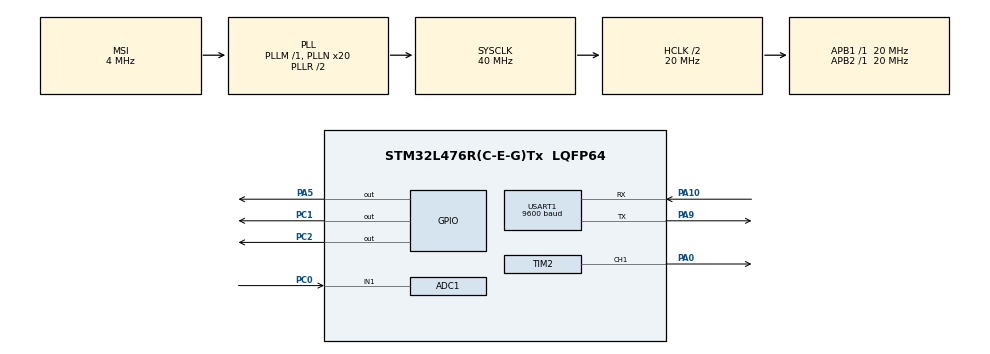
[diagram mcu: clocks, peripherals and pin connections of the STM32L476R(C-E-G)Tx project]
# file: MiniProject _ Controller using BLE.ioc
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ADC1.Channel-0\#ChannelRegularConversion=ADC_CHANNEL_1
ADC1.NbrOfConversionFlag=1
ADC1.OffsetNumber-0\#ChannelRegularConversion=ADC_OFFSET_NONE
ADC1.Rank-0\#ChannelRegularConversion=1
ADC1.SamplingTime-0\#ChannelRegularConversion=ADC_SAMPLETIME_2CYCLES_5
ADC1.master=1
Mcu.Family=STM32L4
Mcu.Name=STM32L476R(C-E-G)Tx
Mcu.Package=LQFP64
NVIC.PriorityGroup=NVIC_PRIORITYGROUP_4
NVIC.USART1_IRQn=true\:0\:0\:false\:false\:true\:true\:true\:true
PA0.Signal=S_TIM2_CH1
PA10.Mode=Asynchronous
PA10.Signal=USART1_RX
PA5.Signal=GPIO_Output
PA9.Mode=Asynchronous
PA9.Signal=USART1_TX
PC0.Signal=ADCx_IN1
PC1.Signal=GPIO_Output
PC2.Signal=GPIO_Output
ProjectManager.HeapSize=0x200
ProjectManager.StackSize=0x400
ProjectManager.TargetToolchain=STM32CubeIDE
RCC.ADCFreq_Value=32000000
RCC.AHBCLKDivider=RCC_SYSCLK_DIV2
RCC.AHBFreq_Value=20000000
RCC.APB1Freq_Value=20000000
RCC.APB1TimFreq_Value=20000000
RCC.APB2Freq_Value=20000000
RCC.APB2TimFreq_Value=20000000
RCC.CortexFreq_Value=20000000
RCC.HCLKFreq_Value=20000000
RCC.HSE_VALUE=8000000
RCC.HSI_VALUE=16000000
RCC.LSE_VALUE=32768
RCC.MSI_VALUE=4000000
RCC.PLLN=20
RCC.PLLSAI1N=16
RCC.SYSCLKFreq_VALUE=40000000
RCC.SYSCLKSource=RCC_SYSCLKSOURCE_PLLCLK
RCC.USBFreq_Value=32000000
RCC.VCOOutputFreq_Value=80000000
SH.ADCx_IN1.0=ADC1_IN1,IN1-Single-Ended
SH.S_TIM2_CH1.0=TIM2_CH1,PWM Generation1 CH1
TIM2.Channel-PWM\ Generation1\ CH1=TIM_CHANNEL_1
TIM2.Period=65536
USART1.BaudRate=9600
USART1.VirtualMode-Asynchronous=VM_ASYNC
VP_TIM2_VS_ClockSourceINT.Mode=Internal
board=custom

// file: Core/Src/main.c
/* USER CODE BEGIN Header */
/**
  ******************************************************************************
  * @file           : main.c
  * @brief          : Main program body
  ******************************************************************************
  * @attention
  *
  * Copyright (c) 2023 STMicroelectronics.
  * All rights reserved.
  *
  * This software is licensed under terms that can be found in the LICENSE file
  * in the root directory of this software component.
  * If no LICENSE file comes with this software, it is provided AS-IS.
  *
  ******************************************************************************
  */
/* USER CODE END Header */
#include "main.h"

/* USER CODE BEGIN PD */

#define Buffer_len 20
#define LED_Number 3
#define ARR_value 65536

/* USER CODE END PD */

ADC_HandleTypeDef hadc1;

TIM_HandleTypeDef htim2;

UART_HandleTypeDef huart1;

/* USER CODE BEGIN PV */

uint8_t RX_BUFFER[Buffer_len]; // Tableau pour stocker les commandes Bluetooth.
uint8_t LEDs[LED_Number]; // Tableau pour réprésenter les 3 Led.
uint16_t ADC_Value;   // Stockage de la valeur convertie du potentiometre.
uint32_t CC_value; // CCR1 register is a 32bit register so that's why we are using a uint32_t variable.
float duty_cycle = 0;

char codigo;
char valor[];

/* USER CODE END PV */

void SystemClock_Config(void);
static void MX_GPIO_Init(void);
static void MX_ADC1_Init(void);
static void MX_TIM2_Init(void);
static void MX_USART1_UART_Init(void);
/* USER CODE BEGIN PFP */
void HAL_UART_RxCpltCallback(UART_HandleTypeDef *);
uint32_t MAP(uint32_t, uint32_t, uint32_t, uint32_t, uint32_t);
/* USER CODE END PFP */

int main(void)
{

  /* MCU Configuration--------------------------------------------------------*/

  /* Reset of all peripherals, Initializes the Flash interface and the Systick. */
  HAL_Init();

  /* Configure the system clock */
  SystemClock_Config();

  /* Initialize all configured peripherals */
  MX_GPIO_Init();
  MX_ADC1_Init();
  MX_TIM2_Init();
  MX_USART1_UART_Init();

  /* Infinite loop */
  while (1)
  {

  }
}

void SystemClock_Config(void)
{
  RCC_OscInitTypeDef RCC_OscInitStruct = {0};
  RCC_ClkInitTypeDef RCC_ClkInitStruct = {0};

  /** Configure the main internal regulator output voltage
  */
  if (HAL_PWREx_ControlVoltageScaling(PWR_REGULATOR_VOLTAGE_SCALE1) != HAL_OK)
  {
    Error_Handler();
  }

  /** Initializes the RCC Oscillators according to the specified parameters
  * in the RCC_OscInitTypeDef structure.
  */
  RCC_OscInitStruct.OscillatorType = RCC_OSCILLATORTYPE_MSI;
  RCC_OscInitStruct.MSIState = RCC_MSI_ON;
  RCC_OscInitStruct.MSICalibrationValue = 0;
  RCC_OscInitStruct.MSIClockRange = RCC_MSIRANGE_6;
  RCC_OscInitStruct.PLL.PLLState = RCC_PLL_ON;
  RCC_OscInitStruct.PLL.PLLSource = RCC_PLLSOURCE_MSI;
  RCC_OscInitStruct.PLL.PLLM = 1;
  RCC_OscInitStruct.PLL.PLLN = 20;
  RCC_OscInitStruct.PLL.PLLP = RCC_PLLP_DIV7;
  RCC_OscInitStruct.PLL.PLLQ = RCC_PLLQ_DIV2;
  RCC_OscInitStruct.PLL.PLLR = RCC_PLLR_DIV2;
  if (HAL_RCC_OscConfig(&RCC_OscInitStruct) != HAL_OK)
  {
    Error_Handler();
  }

  /** Initializes the CPU, AHB and APB buses clocks
  */
  RCC_ClkInitStruct.ClockType = RCC_CLOCKTYPE_HCLK|RCC_CLOCKTYPE_SYSCLK
                              |RCC_CLOCKTYPE_PCLK1|RCC_CLOCKTYPE_PCLK2;
  RCC_ClkInitStruct.SYSCLKSource = RCC_SYSCLKSOURCE_PLLCLK;
  RCC_ClkInitStruct.AHBCLKDivider = RCC_SYSCLK_DIV2;
  RCC_ClkInitStruct.APB1CLKDivider = RCC_HCLK_DIV1;
  RCC_ClkInitStruct.APB2CLKDivider = RCC_HCLK_DIV1;

  if (HAL_RCC_ClockConfig(&RCC_ClkInitStruct, FLASH_LATENCY_1) != HAL_OK)
  {
    Error_Handler();
  }
}

static void MX_ADC1_Init(void)
{

  ADC_MultiModeTypeDef multimode = {0};
  ADC_ChannelConfTypeDef sConfig = {0};

  /** Common config
  */
  hadc1.Instance = ADC1;
  hadc1.Init.ClockPrescaler = ADC_CLOCK_ASYNC_DIV1;
  hadc1.Init.Resolution = ADC_RESOLUTION_12B;
  hadc1.Init.DataAlign = ADC_DATAALIGN_RIGHT;
  hadc1.Init.ScanConvMode = ADC_SCAN_DISABLE;
  hadc1.Init.EOCSelection = ADC_EOC_SINGLE_CONV;
  hadc1.Init.LowPowerAutoWait = DISABLE;
  hadc1.Init.ContinuousConvMode = DISABLE;
  hadc1.Init.NbrOfConversion = 1;
  hadc1.Init.DiscontinuousConvMode = DISABLE;
  hadc1.Init.ExternalTrigConv = ADC_SOFTWARE_START;
  hadc1.Init.ExternalTrigConvEdge = ADC_EXTERNALTRIGCONVEDGE_NONE;
  hadc1.Init.DMAContinuousRequests = DISABLE;
  hadc1.Init.Overrun = ADC_OVR_DATA_PRESERVED;
  hadc1.Init.OversamplingMode = DISABLE;
  if (HAL_ADC_Init(&hadc1) != HAL_OK)
  {
    Error_Handler();
  }

  /** Configure the ADC multi-mode
  */
  multimode.Mode = ADC_MODE_INDEPENDENT;
  if (HAL_ADCEx_MultiModeConfigChannel(&hadc1, &multimode) != HAL_OK)
  {
    Error_Handler();
  }

  /** Configure Regular Channel
  */
  sConfig.Channel = ADC_CHANNEL_1;
  sConfig.Rank = ADC_REGULAR_RANK_1;
  sConfig.SamplingTime = ADC_SAMPLETIME_2CYCLES_5;
  sConfig.SingleDiff = ADC_SINGLE_ENDED;
  sConfig.OffsetNumber = ADC_OFFSET_NONE;
  sConfig.Offset = 0;
  if (HAL_ADC_ConfigChannel(&hadc1, &sConfig) != HAL_OK)
  {
    Error_Handler();
  }

}

static void MX_TIM2_Init(void)
{

  TIM_ClockConfigTypeDef sClockSourceConfig = {0};
  TIM_MasterConfigTypeDef sMasterConfig = {0};
  TIM_OC_InitTypeDef sConfigOC = {0};

  htim2.Instance = TIM2;
  htim2.Init.Prescaler = 0;
  htim2.Init.CounterMode = TIM_COUNTERMODE_UP;
  htim2.Init.Period = 65536;
  htim2.Init.ClockDivision = TIM_CLOCKDIVISION_DIV1;
  htim2.Init.AutoReloadPreload = TIM_AUTORELOAD_PRELOAD_DISABLE;
  if (HAL_TIM_Base_Init(&htim2) != HAL_OK)
  {
    Error_Handler();
  }
  sClockSourceConfig.ClockSource = TIM_CLOCKSOURCE_INTERNAL;
  if (HAL_TIM_ConfigClockSource(&htim2, &sClockSourceConfig) != HAL_OK)
  {
    Error_Handler();
  }
  if (HAL_TIM_PWM_Init(&htim2) != HAL_OK)
  {
    Error_Handler();
  }
  sMasterConfig.MasterOutputTrigger = TIM_TRGO_RESET;
  sMasterConfig.MasterSlaveMode = TIM_MASTERSLAVEMODE_DISABLE;
  if (HAL_TIMEx_MasterConfigSynchronization(&htim2, &sMasterConfig) != HAL_OK)
  {
    Error_Handler();
  }
  sConfigOC.OCMode = TIM_OCMODE_PWM1;
  sConfigOC.Pulse = 0;
  sConfigOC.OCPolarity = TIM_OCPOLARITY_HIGH;
  sConfigOC.OCFastMode = TIM_OCFAST_DISABLE;
  if (HAL_TIM_PWM_ConfigChannel(&htim2, &sConfigOC, TIM_CHANNEL_1) != HAL_OK)
  {
    Error_Handler();
  }
  HAL_TIM_MspPostInit(&htim2);

}

static void MX_USART1_UART_Init(void)
{

  huart1.Instance = USART1;
  huart1.Init.BaudRate = 9600;
  huart1.Init.WordLength = UART_WORDLENGTH_8B;
  huart1.Init.StopBits = UART_STOPBITS_1;
  huart1.Init.Parity = UART_PARITY_NONE;
  huart1.Init.Mode = UART_MODE_TX_RX;
  huart1.Init.HwFlowCtl = UART_HWCONTROL_NONE;
  huart1.Init.OverSampling = UART_OVERSAMPLING_16;
  huart1.Init.OneBitSampling = UART_ONE_BIT_SAMPLE_DISABLE;
  huart1.AdvancedInit.AdvFeatureInit = UART_ADVFEATURE_NO_INIT;
  if (HAL_UART_Init(&huart1) != HAL_OK)
  {
    Error_Handler();
  }

}

static void MX_GPIO_Init(void)
{
  GPIO_InitTypeDef GPIO_InitStruct = {0};

  /* GPIO Ports Clock Enable */
  __HAL_RCC_GPIOC_CLK_ENABLE();
  __HAL_RCC_GPIOA_CLK_ENABLE();

  /*Configure GPIO pin Output Level */
  HAL_GPIO_WritePin(GPIOC, GPIO_PIN_1|GPIO_PIN_2, GPIO_PIN_RESET);

  /*Configure GPIO pin Output Level */
  HAL_GPIO_WritePin(GPIOA, GPIO_PIN_5, GPIO_PIN_RESET);

  /*Configure GPIO pins : PC1 PC2 */
  GPIO_InitStruct.Pin = GPIO_PIN_1|GPIO_PIN_2;
  GPIO_InitStruct.Mode = GPIO_MODE_OUTPUT_PP;
  GPIO_InitStruct.Pull = GPIO_NOPULL;
  GPIO_InitStruct.Speed = GPIO_SPEED_FREQ_LOW;
  HAL_GPIO_Init(GPIOC, &GPIO_InitStruct);

  /*Configure GPIO pin : PA5 */
  GPIO_InitStruct.Pin = GPIO_PIN_5;
  GPIO_InitStruct.Mode = GPIO_MODE_OUTPUT_PP;
  GPIO_InitStruct.Pull = GPIO_NOPULL;
  GPIO_InitStruct.Speed = GPIO_SPEED_FREQ_LOW;
  HAL_GPIO_Init(GPIOA, &GPIO_InitStruct);

}

/* USER CODE BEGIN 4 */
// Callback pour la réception UART
void HAL_UART_RxCpltCallback(UART_HandleTypeDef *huart) {

	// Adjust the capture pulse every 0.1s. once it attend the maximum (timer period) reset to 100 (alpha = 0.1);

	//Check the Cplt callback function call belongs to the UART1 instance.
	if (huart == &huart1) {
    // Commande reçue, effectuez des actions en fonction de RX_BUFFER[0]

    switch (RX_BUFFER[0]){
     case '0':
        // Allumer la LED correspondante (par exemple, GPIOD12)

		  break;

      case '1':
          // Allumer la LED correspondante (par exemple, GPIOD12)

		  break;

      case '2':
          // Allumer la LED correspondante (par exemple, GPIOD13)

          break;

      case '3':
        // Allumer la LED correspondante (par exemple, GPIOD13)

        break;

      case '4':
         // Allumer la LED correspondante (par exemple, GPIOD12)

 		  break;
    }

    // Réactivez la réception UART pour la prochaine commande
    HAL_UART_Receive_IT(&huart1, RX_BUFFER, Buffer_len);
  }

}

//MAP function implementation:
/*@param:
 * au32_IN: La valeur reçue de l'ADC.
 * au32_INmin: La valeur minimal de l'entrée. (potentiomètre dans ce cas.) = 0
 * au32_INmax: La valeur maximal de l'entrée. (potentiomètre dans ce cas.) = 2^(12) _ 1
 * au32_OUTmin: la valeur minimal de la sortie. (Registre CCR1 du Timer2 dans ce cas.) = 0
 * au32_OUTmax: la valeur maximal de la sortie. (Registre CCR1 du Timer2 dans ce cas.) = 2^(16) [Ckeck Timer on the reference manuel to get the timer resolution]
*/

uint32_t MAP(uint32_t au32_IN, uint32_t au32_INmin, uint32_t au32_INmax, uint32_t au32_OUTmin, uint32_t au32_OUTmax)
{
    return ((((au32_IN - au32_INmin)*(au32_OUTmax - au32_OUTmin))/(au32_INmax - au32_INmin)) + au32_OUTmin);
}

/* USER CODE END 4 */

void Error_Handler(void)
{
  __disable_irq();
  while (1)
  {
  }
}
